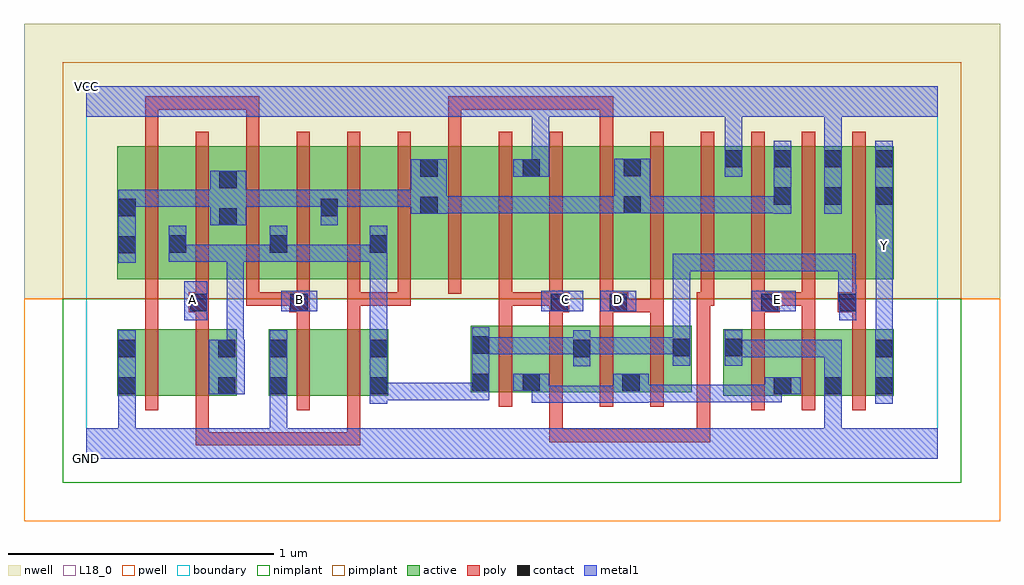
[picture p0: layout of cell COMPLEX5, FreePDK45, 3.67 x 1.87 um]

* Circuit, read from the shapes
.subckt COMPLEX5 A B C D E GND VCC Y
M1 n1 B GND VSUBS nfet w=0.25u l=0.05u
M2 n2 A n1 VSUBS nfet w=0.25u l=0.05u
M3 n3 B GND VSUBS nfet w=0.25u l=0.05u
M4 n2 A n3 VSUBS nfet w=0.25u l=0.05u
M5 n4 C n2 VSUBS nfet w=0.25u l=0.05u m=2
M6 n4 D n2 VSUBS nfet w=0.25u l=0.05u m=2
M7 n4 E GND VSUBS nfet w=0.25u l=0.05u m=2
M8 Y n2 GND VSUBS nfet w=0.25u l=0.05u
M9 n2 B n5 n6 pfet w=0.5u l=0.05u m=3
M10 n5 A n2 n6 pfet w=0.5u l=0.05u m=3
M11 n7 D n5 n6 pfet w=0.5u l=0.05u
M12 VCC C n7 n6 pfet w=0.5u l=0.05u
M13 n8 C VCC n6 pfet w=0.5u l=0.05u
M14 n5 D n8 n6 pfet w=0.5u l=0.05u
M15 n9 D n5 n6 pfet w=0.5u l=0.05u
M16 VCC C n9 n6 pfet w=0.5u l=0.05u
M17 n5 E VCC n6 pfet w=0.5u l=0.05u m=2
M18 Y n2 VCC n6 pfet w=0.5u l=0.05u
.ends

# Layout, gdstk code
import gdstk
lib = gdstk.Library(unit=1e-6, precision=1e-09)
def R(c, l, rs):  # rectangles x0, y0, x1, y1
    for r in rs: c.add(gdstk.rectangle(r[:2], r[2:], *l))
def A(c, l, x, y, w, h, nx, ny, dx, dy):  # array of equal rectangles
    R(c, l, [(x+i*dx, y+j*dy, x+i*dx+w, y+j*dy+h) for i in range(nx) for j in range(ny)])
active = (1, 0)
pwell = (2, 0)
nwell = (3, 0)
nimplant = (4, 0)
pimplant = (5, 0)
poly = (9, 0)
contact = (10, 0)
metal1 = (11, 0)
L18_0 = (18, 0)
boundary = (235, 0)

complex5 = lib.new_cell('COMPLEX5')
A(complex5, active, 0.115, 0.675, 0.265, 0.5, 4, 1, 0.19, 0)
A(complex5, active, 1.48, 0.675, 0.23, 0.5, 3, 1, 0.38, 0)
R(complex5, active, [(0.115,0.237,0.19,0.487), (0.115,0.237,0.34,0.487), (0.34,0.237,0.565,0.487), (0.49,0.237,0.565,0.487), (0.685,0.237,0.76,0.487), (0.685,0.237,0.91,0.487), (0.91,0.237,1.135,0.487), (1.06,0.237,1.135,0.487), (2.395,0.237,2.655,0.487), (2.58,0.237,2.845,0.487), (2.58,0.237,2.655,0.342), (2.77,0.237,3.035,0.487), (2.77,0.237,2.845,0.417), (2.96,0.237,3.035,0.487), (1.445,0.25,1.52,0.5), (1.445,0.25,1.71,0.5), (1.635,0.25,1.9,0.5), (1.635,0.25,1.71,0.342), (1.825,0.25,2.085,0.5), (2.01,0.25,2.275,0.5), (2.01,0.25,2.085,0.467), (1.825,0.297,1.9,0.452), (2.2,0.297,2.275,0.5), (2.395,0.297,2.47,0.487), (0.115,0.675,0.19,1.157), (0.305,0.675,0.38,1.07), (0.685,0.675,0.76,1.07), (0.875,0.675,1.135,1.175), (1.06,0.675,1.325,1.175), (1.06,0.675,1.135,1.07), (1.25,0.675,1.48,1.175), (1.635,0.675,1.86,1.175), (2.015,0.675,2.09,1.175), (2.015,0.675,2.24,1.175), (2.395,0.675,2.655,1.175), (2.58,0.675,2.845,1.175), (2.77,0.675,2.845,1.175), (2.77,0.675,3.035,1.175), (2.96,0.675,3.035,1.175), (1.635,0.682,1.71,1.175), (0.495,0.697,0.57,1.157), (0.875,0.777,0.95,1.157), (1.25,0.807,1.325,1.157), (2.395,0.807,2.47,1.175), (2.58,0.807,2.655,1.175)])
R(complex5, pwell, [(-0.235,-0.235,3.435,0.602)])
R(complex5, nwell, [(-0.235,0.602,3.435,1.635)])
R(complex5, nimplant, [(-0.09,-0.09,3.29,0.602)])
R(complex5, pimplant, [(-0.09,0.602,3.29,1.49)])
A(complex5, poly, 2.5, 0.182, 0.05, 0.36, 3, 1, 0.19, 0)
A(complex5, poly, 1.55, 0.195, 0.05, 0.36, 4, 1, 0.19, 0)
A(complex5, poly, 1.74, 0.505, 0.05, 0.095, 3, 1, 0.19, 0)
A(complex5, poly, 0.22, 0.575, 0.05, 0.095, 6, 1, 0.19, 0)
A(complex5, poly, 1.55, 0.575, 0.05, 0.095, 3, 1, 0.19, 0)
A(complex5, poly, 2.31, 0.575, 0.05, 0.095, 4, 1, 0.19, 0)
A(complex5, poly, 0.22, 0.62, 0.05, 0.61, 15, 1, 0.19, 0)
R(complex5, poly, [(0.41,0.05,0.46,0.1), (0.41,0.05,0.46,0.1), (0.41,0.05,0.46,0.1), (0.41,0.05,0.46,0.232), (0.41,0.05,0.65,0.1), (0.6,0.05,0.65,0.1), (0.6,0.05,0.65,0.1), (0.6,0.05,0.65,0.1), (0.6,0.05,0.782,0.1), (0.732,0.05,0.782,0.1), (0.732,0.05,0.782,0.1), (0.732,0.05,0.782,0.1), (0.732,0.05,1.03,0.1), (0.98,0.05,1.03,0.1), (0.98,0.05,1.03,0.232), (1.74,0.062,1.79,0.112), (1.74,0.062,1.79,0.112), (1.74,0.062,1.79,0.112), (1.74,0.062,1.98,0.112), (1.74,0.062,1.79,0.245), (1.93,0.062,1.98,0.112), (1.93,0.062,2.212,0.112), (2.162,0.062,2.345,0.112), (2.162,0.062,2.212,0.112), (2.162,0.062,2.212,0.112), (2.162,0.062,2.212,0.112), (2.295,0.062,2.345,0.112), (2.295,0.062,2.345,0.112), (2.295,0.062,2.345,0.112), (2.295,0.062,2.345,0.112), (2.295,0.062,2.345,0.112), (2.295,0.062,2.345,0.112), (2.295,0.062,2.345,0.112), (2.295,0.062,2.345,0.625), (0.22,0.182,0.27,0.542), (0.41,0.182,0.46,0.542), (0.79,0.182,0.84,0.542), (0.98,0.182,1.03,0.542), (0.22,0.492,0.27,0.625), (0.41,0.492,0.46,0.6), (0.79,0.492,0.84,0.6), (0.98,0.492,1.03,0.625), (2.5,0.492,2.55,0.6), (2.69,0.492,2.74,0.625), (2.88,0.492,2.93,0.6), (1.55,0.505,1.6,0.625), (0.385,0.55,0.46,0.625), (0.762,0.55,0.84,0.625), (1.74,0.55,1.815,0.625), (1.93,0.55,2.037,0.625), (1.987,0.55,2.17,0.6), (2.12,0.55,2.17,0.6), (2.12,0.55,2.17,0.6), (2.12,0.55,2.17,0.6), (2.12,0.55,2.17,0.67), (2.5,0.55,2.607,0.625), (2.825,0.55,2.93,0.625), (0.22,0.575,0.27,0.625), (0.6,0.575,0.65,0.625), (0.6,0.575,0.65,0.625), (0.6,0.575,0.65,0.625), (0.6,0.575,0.812,0.625), (0.98,0.575,1.03,0.625), (0.98,0.575,1.03,0.625), (0.98,0.575,1.03,0.625), (0.98,0.575,1.22,0.625), (1.17,0.575,1.22,0.625), (1.55,0.575,1.6,0.625), (1.55,0.575,1.6,0.625), (1.55,0.575,1.6,0.625), (1.55,0.575,1.79,0.625), (2.295,0.575,2.36,0.625), (2.557,0.575,2.74,0.625), (2.557,0.575,2.607,0.625), (2.557,0.575,2.607,0.625), (2.69,0.575,2.74,0.625), (0.22,1.18,0.27,1.362), (0.6,1.18,0.65,1.362), (1.36,1.18,1.41,1.362), (1.93,1.18,1.98,1.362), (0.22,1.312,0.27,1.362), (0.22,1.312,0.27,1.362), (0.22,1.312,0.27,1.362), (0.22,1.312,0.402,1.362), (0.352,1.312,0.402,1.362), (0.352,1.312,0.402,1.362), (0.352,1.312,0.402,1.362), (0.352,1.312,0.65,1.362), (0.6,1.312,0.65,1.362), (1.36,1.312,1.41,1.362), (1.36,1.312,1.41,1.362), (1.36,1.312,1.41,1.362), (1.36,1.312,1.657,1.362), (1.607,1.312,1.657,1.362), (1.607,1.312,1.657,1.362), (1.607,1.312,1.657,1.362), (1.607,1.312,1.847,1.362), (1.797,1.312,1.98,1.362), (1.797,1.312,1.847,1.362), (1.93,1.312,1.98,1.362), (1.93,1.312,1.98,1.362), (1.93,1.312,1.98,1.362)])
A(complex5, contact, 2.585, 0.242, 0.065, 0.065, 3, 2, 0.19, 0.713)
A(complex5, contact, 2.585, 1.095, 0.065, 0.065, 3, 1, 0.19, 0)
R(complex5, contact, [(0.12,0.242,0.185,0.307), (0.495,0.242,0.56,0.307), (0.69,0.242,0.755,0.307), (1.065,0.242,1.13,0.307), (1.45,0.255,1.515,0.32), (1.64,0.255,1.705,0.32), (2.015,0.255,2.08,0.32), (0.12,0.382,0.185,0.447), (0.495,0.382,0.56,0.447), (0.69,0.382,0.755,0.447), (1.065,0.382,1.13,0.447), (1.83,0.382,1.895,0.447), (2.965,0.382,3.03,0.447), (2.205,0.385,2.27,0.45), (2.4,0.385,2.465,0.45), (1.45,0.395,1.515,0.46), (0.39,0.555,0.455,0.62), (0.767,0.555,0.832,0.62), (1.745,0.555,1.81,0.62), (1.967,0.555,2.032,0.62), (2.537,0.555,2.602,0.62), (2.83,0.555,2.895,0.62), (0.12,0.772,0.185,0.837), (0.31,0.775,0.375,0.84), (0.69,0.775,0.755,0.84), (1.065,0.775,1.13,0.84), (0.5,0.877,0.565,0.942), (0.12,0.912,0.185,0.977), (0.88,0.912,0.945,0.977), (1.255,0.92,1.32,0.985), (2.02,0.922,2.085,0.987), (0.5,1.017,0.565,1.082), (1.255,1.06,1.32,1.125), (1.64,1.06,1.705,1.125), (2.02,1.062,2.085,1.127), (2.4,1.095,2.465,1.16)])
R(complex5, metal1, [(0,0,3.2,0.115), (0.12,0.05,0.185,0.115), (0.12,0.05,0.185,0.115), (0.12,0.05,0.185,0.115), (0.12,0.05,0.185,0.115), (0.12,0.05,0.185,0.272), (0.69,0.05,0.755,0.115), (0.69,0.05,0.755,0.115), (0.69,0.05,0.755,0.115), (0.69,0.05,0.755,0.115), (0.69,0.05,0.755,0.272), (2.775,0.05,2.84,0.115), (2.775,0.05,2.84,0.115), (2.775,0.05,2.84,0.115), (2.775,0.05,2.84,0.115), (2.775,0.05,2.84,0.272), (0.12,0.207,0.185,0.482), (0.69,0.207,0.755,0.482), (1.065,0.207,1.13,0.482), (2.775,0.207,2.84,0.342), (2.965,0.207,3.032,0.482), (1.675,0.21,1.907,0.275), (1.675,0.21,1.74,0.32), (1.842,0.21,1.907,0.275), (1.842,0.21,1.995,0.275), (1.93,0.21,1.995,0.275), (1.93,0.21,2.045,0.275), (1.98,0.21,2.115,0.32), (2.05,0.212,2.132,0.277), (2.067,0.212,2.132,0.277), (2.067,0.212,2.27,0.277), (2.205,0.212,2.27,0.277), (2.205,0.212,2.27,0.277), (2.205,0.212,2.27,0.277), (2.205,0.212,2.43,0.277), (2.365,0.212,2.43,0.277), (2.365,0.212,2.615,0.277), (2.55,0.212,2.615,0.307), (1.065,0.22,1.13,0.285), (1.065,0.22,1.13,0.285), (1.065,0.22,1.377,0.285), (1.312,0.22,1.377,0.285), (1.312,0.22,1.377,0.285), (1.312,0.22,1.377,0.285), (1.312,0.22,1.515,0.285), (1.45,0.22,1.515,0.495), (0.46,0.242,0.595,0.447), (2.55,0.242,2.615,0.307), (2.55,0.242,2.685,0.307), (1.605,0.255,1.74,0.32), (1.675,0.255,1.74,0.32), (2.775,0.277,2.84,0.447), (1.83,0.347,1.895,0.482), (2.205,0.35,2.27,0.485), (2.4,0.35,2.465,0.485), (0.527,0.382,0.592,0.447), (0.527,0.382,0.592,0.447), (0.527,0.382,0.592,0.805), (2.4,0.382,2.465,0.447), (2.4,0.382,2.465,0.447), (2.4,0.382,2.702,0.447), (2.637,0.382,2.702,0.447), (2.637,0.382,2.755,0.447), (2.69,0.382,2.755,0.447), (2.69,0.382,2.84,0.447), (2.775,0.382,2.84,0.447), (1.45,0.392,1.515,0.457), (1.45,0.392,1.515,0.457), (1.45,0.392,1.757,0.457), (1.692,0.392,1.757,0.457), (1.692,0.392,1.757,0.457), (1.692,0.392,1.757,0.457), (1.692,0.392,1.895,0.457), (1.83,0.392,1.895,0.457), (1.83,0.392,1.895,0.457), (1.83,0.392,2.045,0.457), (1.98,0.392,2.045,0.457), (1.98,0.392,2.132,0.457), (2.067,0.392,2.132,0.457), (2.067,0.392,2.27,0.457), (1.065,0.417,1.13,0.805), (2.967,0.417,3.032,0.797), (2.205,0.42,2.27,0.77), (0.367,0.52,0.455,0.667), (2.83,0.52,2.895,0.655), (0.732,0.555,0.867,0.632), (1.71,0.555,1.867,0.632), (1.932,0.555,2.067,0.632), (2.502,0.555,2.667,0.632), (2.827,0.59,2.895,0.655), (2.827,0.59,2.892,0.655), (2.827,0.59,2.892,0.77), (2.205,0.705,2.27,0.77), (2.205,0.705,2.27,0.77), (2.205,0.705,2.27,0.77), (2.205,0.705,2.43,0.77), (2.365,0.705,2.43,0.77), (2.365,0.705,2.43,0.77), (2.365,0.705,2.43,0.77), (2.365,0.705,2.43,0.77), (2.365,0.705,2.43,0.77), (2.365,0.705,2.702,0.77), (2.637,0.705,2.702,0.77), (2.637,0.705,2.757,0.77), (2.692,0.705,2.757,0.77), (2.692,0.705,2.892,0.77), (2.827,0.705,2.892,0.77), (2.967,0.732,3.032,0.867), (0.12,0.737,0.185,1.012), (0.31,0.74,0.375,0.875), (0.31,0.74,0.375,0.805), (0.31,0.74,0.375,0.805), (0.31,0.74,0.592,0.805), (0.527,0.74,0.592,0.805), (0.527,0.74,0.592,0.805), (0.527,0.74,0.592,0.805), (0.527,0.74,0.755,0.805), (0.69,0.74,0.755,0.875), (0.69,0.74,0.755,0.805), (0.69,0.74,0.755,0.805), (0.69,0.74,0.892,0.805), (0.827,0.74,0.892,0.805), (0.827,0.74,0.892,0.805), (0.827,0.74,0.892,0.805), (0.827,0.74,1.13,0.805), (1.065,0.74,1.13,0.875), (1.065,0.74,1.13,0.805), (1.065,0.74,1.13,0.805), (2.967,0.802,3.032,0.985), (0.465,0.877,0.6,1.082), (0.88,0.877,0.945,1.012), (1.22,0.92,1.355,1.125), (2.585,0.92,2.65,1.195), (2.775,0.92,2.84,1.195), (2.965,0.92,3.032,1.195), (1.29,0.922,1.355,0.987), (1.29,0.922,1.355,0.987), (1.29,0.922,1.532,0.987), (1.467,0.922,1.532,0.987), (1.467,0.922,1.532,0.987), (1.467,0.922,1.532,0.987), (1.467,0.922,1.67,0.987), (1.605,0.922,1.67,0.987), (1.605,0.922,1.67,0.987), (1.605,0.922,1.67,0.987), (1.605,0.922,1.907,0.987), (1.842,0.922,1.907,0.987), (1.842,0.922,1.907,0.987), (1.842,0.922,1.907,0.987), (1.842,0.922,2.05,0.987), (1.985,0.922,2.12,1.127), (2.055,0.922,2.132,0.987), (2.067,0.922,2.132,0.987), (2.067,0.922,2.292,0.987), (2.227,0.922,2.292,0.987), (2.227,0.922,2.292,0.987), (2.227,0.922,2.292,0.987), (2.227,0.922,2.43,0.987), (2.365,0.922,2.43,0.987), (2.365,0.922,2.43,0.987), (2.365,0.922,2.43,0.987), (2.365,0.922,2.65,0.987), (0.12,0.947,0.185,1.012), (0.12,0.947,0.185,1.012), (0.12,0.947,0.387,1.012), (0.322,0.947,0.387,1.012), (0.322,0.947,0.387,1.012), (0.322,0.947,0.387,1.012), (0.322,0.947,0.53,1.012), (0.535,0.947,0.6,1.012), (0.535,0.947,0.6,1.012), (0.535,0.947,0.737,1.012), (0.672,0.947,0.737,1.012), (0.672,0.947,0.737,1.012), (0.672,0.947,0.737,1.012), (0.672,0.947,0.945,1.012), (0.88,0.947,0.945,1.012), (0.88,0.947,0.945,1.012), (0.88,0.947,1.082,1.012), (1.017,0.947,1.082,1.012), (1.017,0.947,1.082,1.012), (1.017,0.947,1.082,1.012), (1.017,0.947,1.285,1.012), (1.605,1.06,1.74,1.125), (1.675,1.06,1.74,1.35), (2.4,1.06,2.465,1.195), (2.4,1.13,2.465,1.35), (2.775,1.13,2.84,1.195), (2.775,1.13,2.84,1.195), (2.775,1.13,2.84,1.35), (0,1.285,3.2,1.4), (1.675,1.285,1.74,1.35), (1.675,1.285,1.74,1.35), (2.4,1.285,2.465,1.35), (2.4,1.285,2.465,1.35)])
R(complex5, L18_0, [(0,0,3.2,0.115), (0.12,0.05,0.185,0.115), (0.12,0.05,0.185,0.115), (0.12,0.05,0.185,0.115), (0.12,0.05,0.185,0.115), (0.12,0.05,0.185,0.272), (0.69,0.05,0.755,0.115), (0.69,0.05,0.755,0.115), (0.69,0.05,0.755,0.115), (0.69,0.05,0.755,0.115), (0.69,0.05,0.755,0.272), (2.775,0.05,2.84,0.115), (2.775,0.05,2.84,0.115), (2.775,0.05,2.84,0.115), (2.775,0.05,2.84,0.115), (2.775,0.05,2.84,0.272), (0.12,0.207,0.185,0.482), (0.69,0.207,0.755,0.482), (2.775,0.207,2.84,0.342), (2.965,0.207,3.032,0.482), (2.775,0.277,2.84,0.447), (2.4,0.35,2.465,0.485), (2.4,0.382,2.465,0.447), (2.4,0.382,2.465,0.447), (2.4,0.382,2.702,0.447), (2.637,0.382,2.702,0.447), (2.637,0.382,2.755,0.447), (2.69,0.382,2.755,0.447), (2.69,0.382,2.84,0.447), (2.775,0.382,2.84,0.447), (2.967,0.417,3.032,0.797), (0.367,0.52,0.455,0.667), (0.732,0.555,0.867,0.632), (1.71,0.555,1.867,0.632), (1.932,0.555,2.067,0.632), (2.502,0.555,2.667,0.632), (0.367,0.567,0.432,0.632), (0.767,0.567,0.832,0.632), (1.767,0.567,1.832,0.632), (1.967,0.567,2.032,0.632), (2.567,0.567,2.632,0.632), (2.967,0.732,3.032,0.867), (2.967,0.767,3.032,0.832), (2.967,0.802,3.032,0.985), (2.775,0.92,2.84,1.195), (2.965,0.92,3.032,1.195), (1.605,1.06,1.74,1.125), (1.675,1.06,1.74,1.35), (2.4,1.06,2.465,1.195), (2.4,1.13,2.465,1.35), (2.775,1.13,2.84,1.195), (2.775,1.13,2.84,1.195), (2.775,1.13,2.84,1.35), (0,1.285,3.2,1.4), (1.675,1.285,1.74,1.35), (1.675,1.285,1.74,1.35), (2.4,1.285,2.465,1.35), (2.4,1.285,2.465,1.35)])
R(complex5, boundary, [(0,0,3.2,1.4)])
complex5.add(gdstk.Label('A', (0.4,0.6), layer=11, texttype=0))
complex5.add(gdstk.Label('B', (0.8,0.6), layer=11, texttype=0))
complex5.add(gdstk.Label('C', (1.8,0.6), layer=11, texttype=0))
complex5.add(gdstk.Label('D', (2,0.6), layer=11, texttype=0))
complex5.add(gdstk.Label('E', (2.6,0.6), layer=11, texttype=0))
complex5.add(gdstk.Label('Y', (3,0.8), layer=11, texttype=0))
complex5.add(gdstk.Label('VCC', (0,1.4), layer=11, texttype=0))
complex5.add(gdstk.Label('GND', (0,0), layer=11, texttype=0))

lib.write_gds('COMPLEX5.gds')
